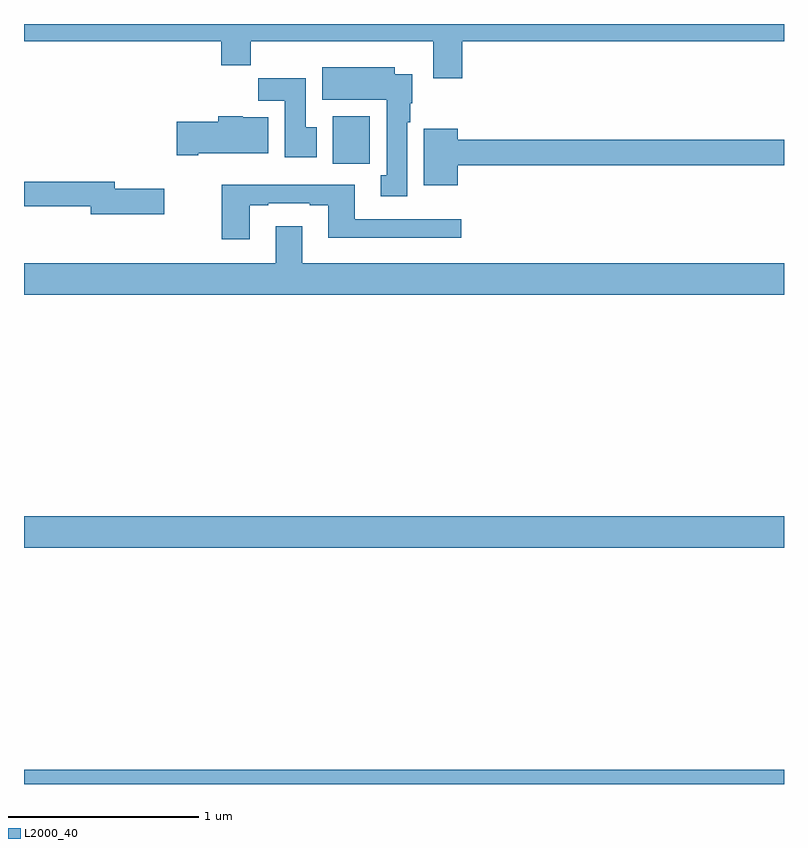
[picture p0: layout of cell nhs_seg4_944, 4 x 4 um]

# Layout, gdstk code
import gdstk
lib = gdstk.Library(unit=1e-6, precision=1e-09)
def R(c, l, rs):  # rectangles x0, y0, x1, y1
    for r in rs: c.add(gdstk.rectangle(r[:2], r[2:], *l))
def P(c, l, *ps):  # polygons
    for p in ps: c.add(gdstk.Polygon(p, *l))
L2000_40 = (2000, 40)

nhs_seg4_944 = lib.new_cell('nhs_seg4_944')
R(nhs_seg4_944, L2000_40, [(159,804.9,163,804.976), (159,806.144,163,806.308), (160.625,808.164,160.821,808.414)])
P(nhs_seg4_944, L2000_40, [(161.306,808.808),(163,808.808),(163,808.9),(159,808.9),(159,808.808),(160.037,808.808),(160.037,808.684),(160.193,808.684),(160.193,808.808),(161.153,808.808),(161.153,808.614),(161.306,808.614)],
  [(161.017,808.382),(161.032,808.382),(161.032,808.482),(161.044,808.482),(161.044,808.636),(160.951,808.636),(160.951,808.672),(160.571,808.672),(160.571,808.502),(160.91,808.502),(160.91,808.105),(160.877,808.105),(160.877,807.993),(161.017,807.993)],
  [(160.54,808.356),(160.483,808.356),(160.483,808.614),(160.234,808.614),(160.234,808.496),(160.373,808.496),(160.373,808.2),(160.54,808.2)],
  [(159.916,808.22),(160.285,808.22),(160.285,808.408),(160.152,808.408),(160.152,808.414),(160.022,808.414),(160.022,808.386),(159.804,808.386),(159.804,808.208),(159.916,808.208)],
  [(161.284,808.156),(163,808.156),(163,808.292),(161.284,808.292),(161.284,808.348),(161.105,808.348),(161.105,808.052),(161.284,808.052)],
  [(159.739,808.034),(159.478,808.034),(159.478,808.07),(159,808.07),(159,807.942),(159.35,807.942),(159.35,807.899),(159.739,807.899)],
  [(160.189,807.945),(160.285,807.945),(160.285,807.957),(160.505,807.957),(160.505,807.945),(160.601,807.945),(160.601,807.776),(161.302,807.776),(161.302,807.873),(160.741,807.873),(160.741,808.054),(160.042,808.054),(160.042,807.768),(160.189,807.768)],
  [(163,807.64),(160.465,807.64),(160.465,807.835),(160.325,807.835),(160.325,807.64),(159,807.64),(159,807.476),(163,807.476)])

lib.write_gds('nhs_seg4_944.gds')
